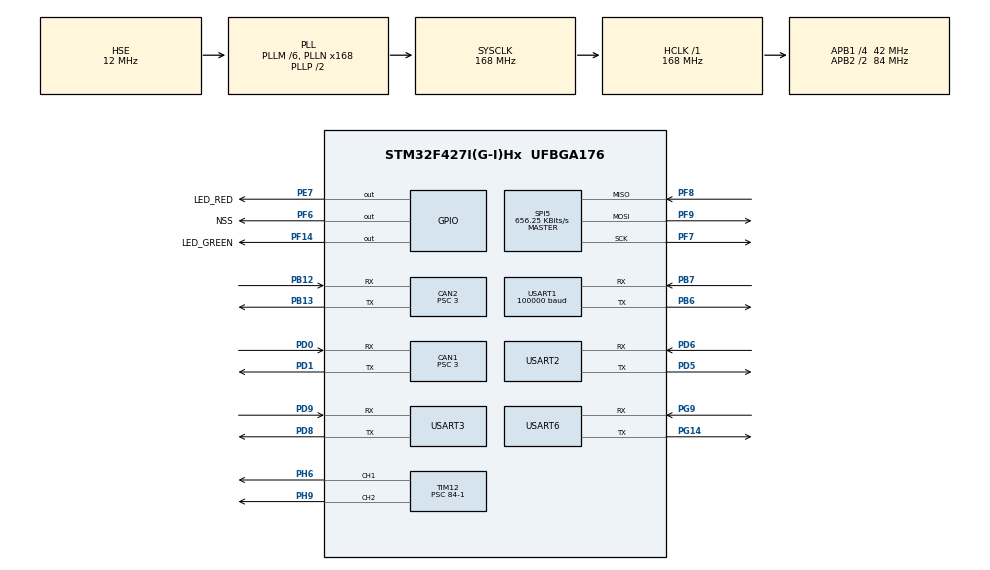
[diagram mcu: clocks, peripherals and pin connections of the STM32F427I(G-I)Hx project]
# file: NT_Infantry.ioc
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CAN1.BS1=CAN_BS1_9TQ
CAN1.BS2=CAN_BS2_4TQ
CAN1.CalculateTimeBit=1000
CAN1.CalculateTimeQuantum=71.42857142857143
CAN1.Prescaler=3
CAN2.BS1=CAN_BS1_9TQ
CAN2.BS2=CAN_BS2_4TQ
CAN2.CalculateTimeBit=1000
CAN2.CalculateTimeQuantum=71.42857142857143
CAN2.Prescaler=3
Dma.Request0=USART1_RX
Dma.Request1=USART3_RX
Dma.Request2=USART2_RX
Dma.Request3=USART6_RX
Dma.USART1_RX.0.Direction=DMA_PERIPH_TO_MEMORY
Dma.USART1_RX.0.FIFOMode=DMA_FIFOMODE_DISABLE
Dma.USART1_RX.0.Instance=DMA2_Stream2
Dma.USART1_RX.0.MemDataAlignment=DMA_MDATAALIGN_BYTE
Dma.USART1_RX.0.MemInc=DMA_MINC_ENABLE
Dma.USART1_RX.0.Mode=DMA_NORMAL
Dma.USART1_RX.0.PeriphDataAlignment=DMA_PDATAALIGN_BYTE
Dma.USART1_RX.0.PeriphInc=DMA_PINC_DISABLE
Dma.USART1_RX.0.Priority=DMA_PRIORITY_LOW
Dma.USART2_RX.2.Direction=DMA_PERIPH_TO_MEMORY
Dma.USART2_RX.2.FIFOMode=DMA_FIFOMODE_DISABLE
Dma.USART2_RX.2.Instance=DMA1_Stream5
Dma.USART2_RX.2.MemDataAlignment=DMA_MDATAALIGN_BYTE
Dma.USART2_RX.2.MemInc=DMA_MINC_ENABLE
Dma.USART2_RX.2.Mode=DMA_NORMAL
Dma.USART2_RX.2.PeriphDataAlignment=DMA_PDATAALIGN_BYTE
Dma.USART2_RX.2.PeriphInc=DMA_PINC_DISABLE
Dma.USART2_RX.2.Priority=DMA_PRIORITY_LOW
Dma.USART3_RX.1.Direction=DMA_PERIPH_TO_MEMORY
Dma.USART3_RX.1.FIFOMode=DMA_FIFOMODE_DISABLE
Dma.USART3_RX.1.Instance=DMA1_Stream1
Dma.USART3_RX.1.MemDataAlignment=DMA_MDATAALIGN_BYTE
Dma.USART3_RX.1.MemInc=DMA_MINC_ENABLE
Dma.USART3_RX.1.Mode=DMA_NORMAL
Dma.USART3_RX.1.PeriphDataAlignment=DMA_PDATAALIGN_BYTE
Dma.USART3_RX.1.PeriphInc=DMA_PINC_DISABLE
Dma.USART3_RX.1.Priority=DMA_PRIORITY_LOW
Dma.USART6_RX.3.Direction=DMA_PERIPH_TO_MEMORY
Dma.USART6_RX.3.FIFOMode=DMA_FIFOMODE_DISABLE
Dma.USART6_RX.3.Instance=DMA2_Stream1
Dma.USART6_RX.3.MemDataAlignment=DMA_MDATAALIGN_BYTE
Dma.USART6_RX.3.MemInc=DMA_MINC_ENABLE
Dma.USART6_RX.3.Mode=DMA_NORMAL
Dma.USART6_RX.3.PeriphDataAlignment=DMA_PDATAALIGN_BYTE
Dma.USART6_RX.3.PeriphInc=DMA_PINC_DISABLE
Dma.USART6_RX.3.Priority=DMA_PRIORITY_LOW
Mcu.Family=STM32F4
Mcu.Name=STM32F427I(G-I)Hx
Mcu.Package=UFBGA176
NVIC.CAN1_RX0_IRQn=true\:0\:0\:true\:false\:true\:true
NVIC.CAN1_TX_IRQn=true\:0\:0\:true\:false\:true\:true
NVIC.CAN2_RX0_IRQn=true\:1\:0\:true\:false\:true\:true
NVIC.CAN2_TX_IRQn=true\:2\:0\:true\:false\:true\:true
NVIC.DMA1_Stream1_IRQn=true\:0\:0\:true\:false\:true\:false
NVIC.DMA1_Stream5_IRQn=true\:0\:0\:false\:false\:true\:false
NVIC.DMA2_Stream1_IRQn=true\:0\:0\:false\:false\:true\:false
NVIC.DMA2_Stream2_IRQn=true\:0\:0\:false\:false\:true\:false
NVIC.PriorityGroup=NVIC_PRIORITYGROUP_4
NVIC.TIM1_UP_TIM10_IRQn=true\:4\:0\:true\:false\:true\:true
NVIC.TIM6_DAC_IRQn=true\:3\:0\:true\:false\:true\:true
NVIC.TIM7_IRQn=true\:0\:0\:true\:false\:true\:true
NVIC.USART1_IRQn=true\:0\:0\:true\:false\:true\:true
NVIC.USART2_IRQn=true\:1\:0\:true\:false\:true\:true
NVIC.USART3_IRQn=true\:1\:0\:true\:false\:true\:true
NVIC.USART6_IRQn=true\:1\:0\:true\:false\:true\:true
PB12.Mode=Slave
PB12.Signal=CAN2_RX
PB13.Mode=Slave
PB13.Signal=CAN2_TX
PB6.Mode=Asynchronous
PB6.Signal=USART1_TX
PB7.Mode=Asynchronous
PB7.Signal=USART1_RX
PD0.Mode=Master
PD0.Signal=CAN1_RX
PD1.Mode=Master
PD1.Signal=CAN1_TX
PD5.Mode=Asynchronous
PD5.Signal=USART2_TX
PD6.Mode=Asynchronous
PD6.Signal=USART2_RX
PD8.Mode=Asynchronous
PD8.Signal=USART3_TX
PD9.Mode=Asynchronous
PD9.Signal=USART3_RX
PE7.GPIO_Label=LED_RED
PE7.Signal=GPIO_Output
PF14.GPIO_Label=LED_GREEN
PF14.Signal=GPIO_Output
PF6.GPIO_Label=NSS
PF6.Signal=GPIO_Output
PF7.Mode=Full_Duplex_Master
PF7.Signal=SPI5_SCK
PF8.Mode=Full_Duplex_Master
PF8.Signal=SPI5_MISO
PF9.Mode=Full_Duplex_Master
PF9.Signal=SPI5_MOSI
PG14.Mode=Asynchronous
PG14.Signal=USART6_TX
PG9.Mode=Asynchronous
PG9.Signal=USART6_RX
PH0/OSC_IN.Mode=HSE-External-Oscillator
PH0/OSC_IN.Signal=RCC_OSC_IN
PH1/OSC_OUT.Mode=HSE-External-Oscillator
PH1/OSC_OUT.Signal=RCC_OSC_OUT
PH6.Signal=S_TIM12_CH1
PH9.Signal=S_TIM12_CH2
ProjectManager.HeapSize=0x200
ProjectManager.StackSize=0x400
ProjectManager.TargetToolchain=MDK-ARM V5
RCC.48MHZClocksFreq_Value=84000000
RCC.AHBFreq_Value=168000000
RCC.APB1CLKDivider=RCC_HCLK_DIV4
RCC.APB1Freq_Value=42000000
RCC.APB1TimFreq_Value=84000000
RCC.APB2CLKDivider=RCC_HCLK_DIV2
RCC.APB2Freq_Value=84000000
RCC.APB2TimFreq_Value=168000000
RCC.CortexFreq_Value=168000000
RCC.HCLKFreq_Value=168000000
RCC.HSE_VALUE=12000000
RCC.HSI_VALUE=16000000
RCC.LSE_VALUE=32768
RCC.PLLM=6
RCC.PLLN=168
RCC.PLLSourceVirtual=RCC_PLLSOURCE_HSE
RCC.SYSCLKFreq_VALUE=168000000
RCC.SYSCLKSource=RCC_SYSCLKSOURCE_PLLCLK
RCC.VCOOutputFreq_Value=336000000
SH.S_TIM12_CH1.0=TIM12_CH1,PWM Generation1 CH1
SH.S_TIM12_CH2.0=TIM12_CH2,PWM Generation2 CH2
SPI5.BaudRatePrescaler=SPI_BAUDRATEPRESCALER_128
SPI5.CalculateBaudRate=656.25 KBits/s
SPI5.Direction=SPI_DIRECTION_2LINES
SPI5.Mode=SPI_MODE_MASTER
SPI5.VirtualType=VM_MASTER
TIM10.Period=10000
TIM10.Prescaler=168-1
TIM12.Channel-PWM\ Generation1\ CH1=TIM_CHANNEL_1
TIM12.Channel-PWM\ Generation2\ CH2=TIM_CHANNEL_2
TIM12.Period=2500-1
TIM12.Prescaler=84-1
TIM12.Pulse-PWM\ Generation1\ CH1=1000
TIM12.Pulse-PWM\ Generation2\ CH2=1000
TIM6.Period=1000
TIM6.Prescaler=84-1
TIM7.Period=1000
TIM7.Prescaler=84-1
USART1.BaudRate=100000
USART1.Mode=MODE_RX
USART1.Parity=PARITY_EVEN
USART1.VirtualMode=VM_ASYNC
USART1.WordLength=WORDLENGTH_9B
USART2.VirtualMode=VM_ASYNC
USART3.VirtualMode=VM_ASYNC
USART6.VirtualMode=VM_ASYNC
VP_TIM10_VS_ClockSourceINT.Mode=Enable_Timer
VP_TIM12_VS_ClockSourceINT.Mode=Internal
VP_TIM6_VS_ClockSourceINT.Mode=Enable_Timer
VP_TIM7_VS_ClockSourceINT.Mode=Enable_Timer
board=NT_Infantry

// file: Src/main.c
/**
  ******************************************************************************
  * File Name          : main.c
  * Description        : Main program body
  ******************************************************************************
  ** This notice applies to any and all portions of this file
  * that are not between comment pairs USER CODE BEGIN and
  * USER CODE END. Other portions of this file, whether
  * inserted by the user or by software development tools
  * are owned by their respective copyright owners.
  *
  * COPYRIGHT(c) 2018 STMicroelectronics
  *
  * Redistribution and use in source and binary forms, with or without modification,
  * are permitted provided that the following conditions are met:
  *   1. Redistributions of source code must retain the above copyright notice,
  *      this list of conditions and the following disclaimer.
  *   2. Redistributions in binary form must reproduce the above copyright notice,
  *      this list of conditions and the following disclaimer in the documentation
  *      and/or other materials provided with the distribution.
  *   3. Neither the name of STMicroelectronics nor the names of its contributors
  *      may be used to endorse or promote products derived from this software
  *      without specific prior written permission.
  *
  * THIS SOFTWARE IS PROVIDED BY THE COPYRIGHT HOLDERS AND CONTRIBUTORS "AS IS"
  * AND ANY EXPRESS OR IMPLIED WARRANTIES, INCLUDING, BUT NOT LIMITED TO, THE
  * IMPLIED WARRANTIES OF MERCHANTABILITY AND FITNESS FOR A PARTICULAR PURPOSE ARE
  * DISCLAIMED. IN NO EVENT SHALL THE COPYRIGHT HOLDER OR CONTRIBUTORS BE LIABLE
  * FOR ANY DIRECT, INDIRECT, INCIDENTAL, SPECIAL, EXEMPLARY, OR CONSEQUENTIAL
  * DAMAGES (INCLUDING, BUT NOT LIMITED TO, PROCUREMENT OF SUBSTITUTE GOODS OR
  * SERVICES; LOSS OF USE, DATA, OR PROFITS; OR BUSINESS INTERRUPTION) HOWEVER
  * CAUSED AND ON ANY THEORY OF LIABILITY, WHETHER IN CONTRACT, STRICT LIABILITY,
  * OR TORT (INCLUDING NEGLIGENCE OR OTHERWISE) ARISING IN ANY WAY OUT OF THE USE
  * OF THIS SOFTWARE, EVEN IF ADVISED OF THE POSSIBILITY OF SUCH DAMAGE.
  *
  ******************************************************************************
  */

#include "main.h"
#include "stm32f4xx_hal.h"
#include "can.h"
#include "dma.h"
#include "spi.h"
#include "tim.h"
#include "usart.h"
#include "gpio.h"

/* USER CODE BEGIN Includes */
#include "includes.h"
/* USER CODE END Includes */

/* USER CODE BEGIN PV */
/* Private variables ---------------------------------------------------------*/

/* USER CODE END PV */

void SystemClock_Config(void);

/* USER CODE BEGIN PFP */
/* Private function prototypes -----------------------------------------------*/

/* USER CODE END PFP */

int main(void)
{

  /* MCU Configuration----------------------------------------------------------*/

  /* Reset of all peripherals, Initializes the Flash interface and the Systick. */
  HAL_Init();

  /* Configure the system clock */
  SystemClock_Config();

  /* USER CODE BEGIN SysInit */
	HAL_NVIC_DisableIRQ(USART2_IRQn);
	HAL_NVIC_DisableIRQ(USART3_IRQn);
	HAL_NVIC_DisableIRQ(USART6_IRQn);
	HAL_NVIC_DisableIRQ(DMA1_Stream1_IRQn);
	HAL_NVIC_DisableIRQ(DMA1_Stream5_IRQn);
	HAL_NVIC_DisableIRQ(DMA2_Stream1_IRQn);

	HAL_NVIC_DisableIRQ(CAN1_RX0_IRQn);
	HAL_NVIC_DisableIRQ(CAN2_RX0_IRQn);
	HAL_NVIC_DisableIRQ(USART1_IRQn);
	HAL_NVIC_DisableIRQ(DMA2_Stream2_IRQn);
	HAL_NVIC_DisableIRQ(TIM7_IRQn);
	HAL_NVIC_DisableIRQ(TIM6_DAC_IRQn);
	#ifdef DEBUG_MODE
		HAL_NVIC_DisableIRQ(TIM1_UP_TIM10_IRQn);
	#endif
  /* USER CODE END SysInit */

  /* Initialize all configured peripherals */

  MX_GPIO_Init();
  MX_DMA_Init();
  MX_CAN1_Init();
  MX_CAN2_Init();
  MX_SPI5_Init();
  MX_USART1_UART_Init();
  MX_TIM6_Init();
  MX_TIM12_Init();
  MX_USART2_UART_Init();
  MX_USART3_UART_Init();
  MX_USART6_UART_Init();
  MX_TIM7_Init();
  MX_TIM10_Init();

  /* USER CODE BEGIN 2 */
	//各模块初始化
	InitRemoteControl();
	InitMPU6500();
	CMControlInit();
	InitCanReception();
	#ifdef DEBUG_MODE
	ctrlUartInit();
	HAL_TIM_Base_Start_IT(&htim10);
	#endif
	HAL_TIM_Base_Start_IT(&htim6);
	HAL_TIM_Base_Start_IT(&htim7);
	InitUserTimer();

	HAL_NVIC_EnableIRQ(CAN1_RX0_IRQn);
	HAL_NVIC_EnableIRQ(CAN2_RX0_IRQn);
	HAL_NVIC_EnableIRQ(USART1_IRQn);
	HAL_NVIC_EnableIRQ(DMA2_Stream2_IRQn);
	HAL_NVIC_EnableIRQ(TIM7_IRQn);
	#ifdef DEBUG_MODE
		HAL_NVIC_EnableIRQ(TIM1_UP_TIM10_IRQn);
	#endif
	HAL_NVIC_EnableIRQ(TIM6_DAC_IRQn);
  /* USER CODE END 2 */

  /* Infinite loop */
  while (1)
  {

  /* USER CODE BEGIN 3 */
		//IMU数据更新放在主循环中
		IMURefresh();
  }
  /* USER CODE END 3 */

}

/** System Clock Configuration
*/
void SystemClock_Config(void)
{

  RCC_OscInitTypeDef RCC_OscInitStruct;
  RCC_ClkInitTypeDef RCC_ClkInitStruct;

    /**Configure the main internal regulator output voltage
    */
  __HAL_RCC_PWR_CLK_ENABLE();

  __HAL_PWR_VOLTAGESCALING_CONFIG(PWR_REGULATOR_VOLTAGE_SCALE1);

    /**Initializes the CPU, AHB and APB busses clocks
    */
  RCC_OscInitStruct.OscillatorType = RCC_OSCILLATORTYPE_HSE;
  RCC_OscInitStruct.HSEState = RCC_HSE_ON;
  RCC_OscInitStruct.PLL.PLLState = RCC_PLL_ON;
  RCC_OscInitStruct.PLL.PLLSource = RCC_PLLSOURCE_HSE;
  RCC_OscInitStruct.PLL.PLLM = 6;
  RCC_OscInitStruct.PLL.PLLN = 168;
  RCC_OscInitStruct.PLL.PLLP = RCC_PLLP_DIV2;
  RCC_OscInitStruct.PLL.PLLQ = 4;
  if (HAL_RCC_OscConfig(&RCC_OscInitStruct) != HAL_OK)
  {
    _Error_Handler(__FILE__, __LINE__);
  }

    /**Initializes the CPU, AHB and APB busses clocks
    */
  RCC_ClkInitStruct.ClockType = RCC_CLOCKTYPE_HCLK|RCC_CLOCKTYPE_SYSCLK
                              |RCC_CLOCKTYPE_PCLK1|RCC_CLOCKTYPE_PCLK2;
  RCC_ClkInitStruct.SYSCLKSource = RCC_SYSCLKSOURCE_PLLCLK;
  RCC_ClkInitStruct.AHBCLKDivider = RCC_SYSCLK_DIV1;
  RCC_ClkInitStruct.APB1CLKDivider = RCC_HCLK_DIV4;
  RCC_ClkInitStruct.APB2CLKDivider = RCC_HCLK_DIV2;

  if (HAL_RCC_ClockConfig(&RCC_ClkInitStruct, FLASH_LATENCY_5) != HAL_OK)
  {
    _Error_Handler(__FILE__, __LINE__);
  }

    /**Configure the Systick interrupt time
    */
  HAL_SYSTICK_Config(HAL_RCC_GetHCLKFreq()/1000);

    /**Configure the Systick
    */
  HAL_SYSTICK_CLKSourceConfig(SYSTICK_CLKSOURCE_HCLK);

  /* SysTick_IRQn interrupt configuration */
  HAL_NVIC_SetPriority(SysTick_IRQn, 0, 0);
}

void _Error_Handler(char * file, int line)
{
  while(1)
  {
  }
}

/************************ (C) COPYRIGHT STMicroelectronics *****END OF FILE****/
